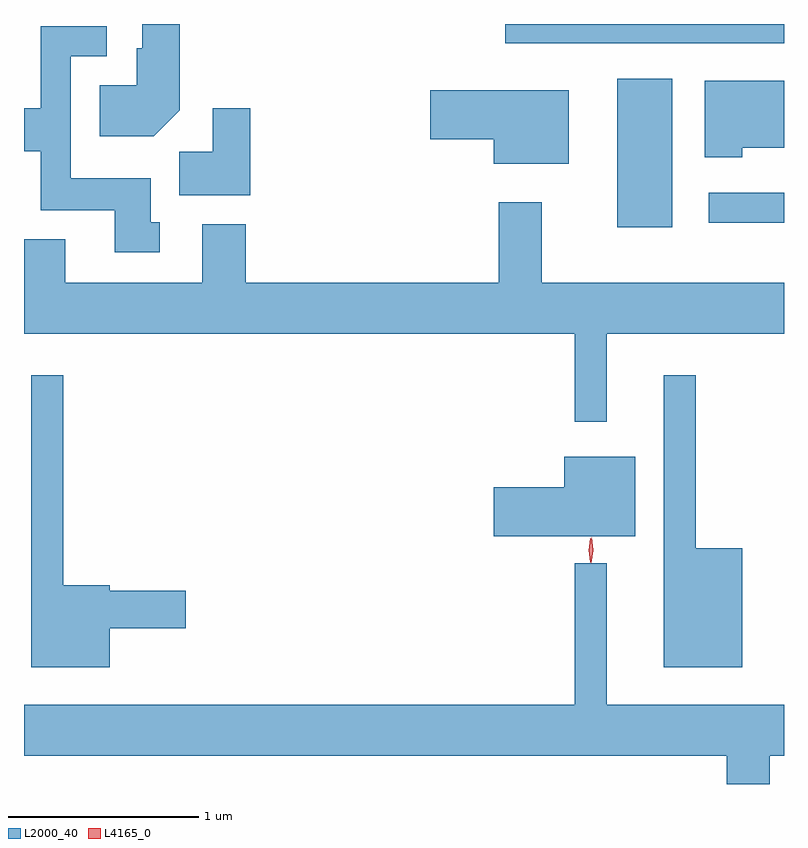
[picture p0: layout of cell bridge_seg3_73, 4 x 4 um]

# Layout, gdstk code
import gdstk
lib = gdstk.Library(unit=1e-6, precision=1e-09)
def R(c, l, rs):  # rectangles x0, y0, x1, y1
    for r in rs: c.add(gdstk.rectangle(r[:2], r[2:], *l))
def P(c, l, *ps):  # polygons
    for p in ps: c.add(gdstk.Polygon(p, *l))
L2000_40 = (2000, 40)
L4165_0 = (4165, 0)

bridge_seg3_73 = lib.new_cell('bridge_seg3_73')
R(bridge_seg3_73, L2000_40, [(1128.736,1162.096,1129.024,1162.879), (1129.218,1162.121,1129.613,1162.279), (1128.146,1163.066,1129.613,1163.167)])
P(bridge_seg3_73, L2000_40, [(1126.434,1162.714),(1126.434,1163.167),(1126.236,1163.167),(1126.236,1163.039),(1126.206,1163.039),(1126.206,1162.844),(1126.011,1162.844),(1126.011,1162.576),(1126.297,1162.576)],
  [(1126.328,1162.124),(1126.279,1162.124),(1126.279,1162.354),(1125.859,1162.354),(1125.859,1162.996),(1126.048,1162.996),(1126.048,1163.154),(1125.701,1163.154),(1125.701,1162.724),(1125.613,1162.724),(1125.613,1162.496),(1125.701,1162.496),(1125.701,1162.186),(1126.091,1162.186),(1126.091,1161.966),(1126.328,1161.966)],
  [(1129.394,1162.516),(1129.613,1162.516),(1129.613,1162.869),(1129.196,1162.869),(1129.196,1162.466),(1129.394,1162.466)],
  [(1128.479,1162.819),(1127.751,1162.819),(1127.751,1162.561),(1128.086,1162.561),(1128.086,1162.431),(1128.479,1162.431)],
  [(1126.804,1162.724),(1126.606,1162.724),(1126.606,1162.494),(1126.431,1162.494),(1126.431,1162.266),(1126.804,1162.266)],
  [(1128.679,1161.536),(1129.613,1161.536),(1129.613,1161.804),(1128.339,1161.804),(1128.339,1162.229),(1128.111,1162.229),(1128.111,1161.804),(1126.779,1161.804),(1126.779,1162.114),(1126.551,1162.114),(1126.551,1161.804),(1125.829,1161.804),(1125.829,1162.034),(1125.613,1162.034),(1125.613,1161.536),(1128.511,1161.536),(1128.511,1161.073),(1128.679,1161.073)],
  [(1129.394,1160.409),(1129.149,1160.409),(1129.149,1161.318),(1128.981,1161.318),(1128.981,1159.781),(1129.394,1159.781)],
  [(1126.064,1159.986),(1126.464,1159.986),(1126.464,1160.184),(1126.064,1160.184),(1126.064,1160.214),(1125.819,1160.214),(1125.819,1161.318),(1125.651,1161.318),(1125.651,1159.781),(1126.064,1159.781)],
  [(1128.829,1160.889),(1128.456,1160.889),(1128.456,1160.729),(1128.086,1160.729),(1128.086,1160.471),(1128.829,1160.471)],
  [(1129.539,1159.316),(1129.613,1159.316),(1129.613,1159.584),(1128.679,1159.584),(1128.679,1160.328),(1128.511,1160.328),(1128.511,1159.584),(1125.613,1159.584),(1125.613,1159.316),(1129.311,1159.316),(1129.311,1159.167),(1129.539,1159.167)])
P(bridge_seg3_73, L4165_0, [(1128.598,1160.33),(1128.598,1160.33),(1128.589,1160.398),(1128.6,1160.466),(1128.6,1160.466),(1128.6,1160.466),(1128.609,1160.398),(1128.599,1160.33)],
  [(1128.594,1160.333),(1128.585,1160.396),(1128.594,1160.459),(1128.594,1160.46),(1128.595,1160.459),(1128.605,1160.396),(1128.596,1160.333),(1128.595,1160.333)])

lib.write_gds('bridge_seg3_73.gds')
